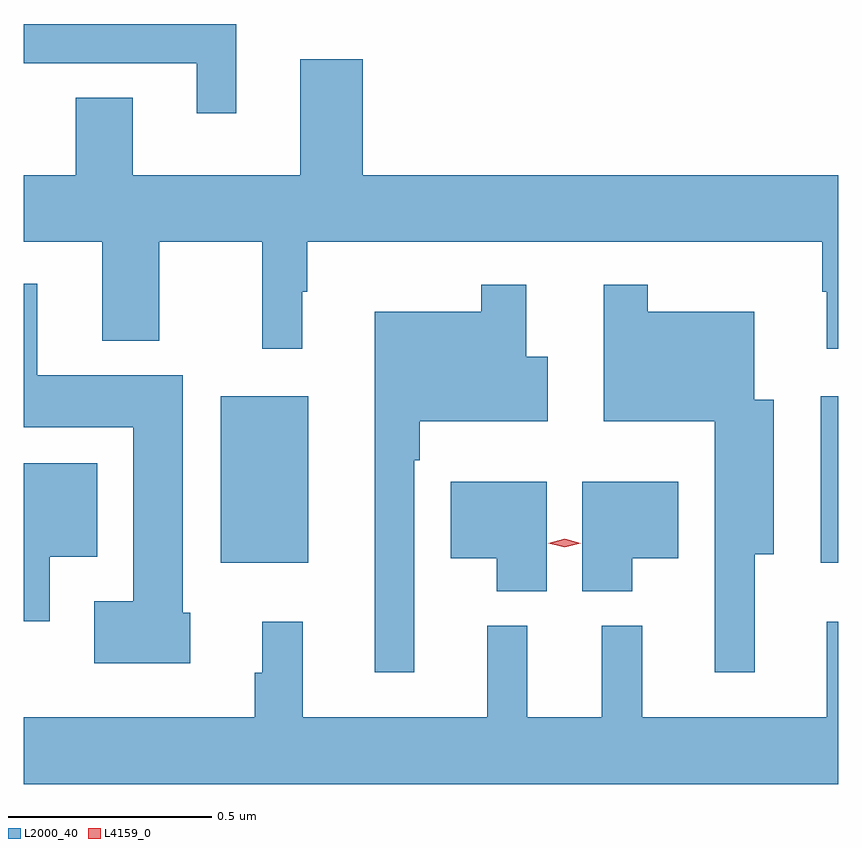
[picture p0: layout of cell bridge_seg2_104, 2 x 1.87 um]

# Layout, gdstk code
import gdstk
lib = gdstk.Library(unit=1e-6, precision=1e-09)
def R(c, l, rs):  # rectangles x0, y0, x1, y1
    for r in rs: c.add(gdstk.rectangle(r[:2], r[2:], *l))
def P(c, l, *ps):  # polygons
    for p in ps: c.add(gdstk.Polygon(p, *l))
L2000_40 = (2000, 40)
L4159_0 = (4159, 0)

bridge_seg2_104 = lib.new_cell('bridge_seg2_104')
R(bridge_seg2_104, L2000_40, [(522.998,638.855,523.213,639.265), (524.471,638.855,524.514,639.265)])
P(bridge_seg2_104, L2000_40, [(523.036,640.179),(522.514,640.179),(522.514,640.083),(522.938,640.083),(522.938,639.96),(523.036,639.96)],
  [(523.198,639.521),(523.21,639.521),(523.21,639.644),(524.475,639.644),(524.475,639.521),(524.486,639.521),(524.486,639.381),(524.514,639.381),(524.514,639.808),(523.346,639.808),(523.346,640.093),(523.193,640.093),(523.193,639.808),(522.781,639.808),(522.781,639.998),(522.641,639.998),(522.641,639.808),(522.514,639.808),(522.514,639.644),(522.707,639.644),(522.707,639.401),(522.847,639.401),(522.847,639.644),(523.099,639.644),(523.099,639.381),(523.198,639.381)],
  [(522.922,638.733),(522.904,638.733),(522.904,639.316),(522.547,639.316),(522.547,639.541),(522.514,639.541),(522.514,639.188),(522.782,639.188),(522.782,638.761),(522.687,638.761),(522.687,638.609),(522.922,638.609)],
  [(523.473,639.107),(523.486,639.107),(523.486,639.203),(523.801,639.203),(523.801,639.361),(523.748,639.361),(523.748,639.538),(523.638,639.538),(523.638,639.472),(523.376,639.472),(523.376,638.586),(523.473,638.586)],
  [(524.309,638.876),(524.356,638.876),(524.356,639.256),(524.308,639.256),(524.308,639.472),(524.047,639.472),(524.047,639.538),(523.938,639.538),(523.938,639.203),(524.211,639.203),(524.211,638.586),(524.309,638.586)],
  [(522.577,638.87),(522.694,638.87),(522.694,639.1),(522.514,639.1),(522.514,638.712),(522.577,638.712)],
  [(524.008,638.867),(524.122,638.867),(524.122,639.055),(523.886,639.055),(523.886,638.786),(524.008,638.786)],
  [(523.798,639.055),(523.562,639.055),(523.562,638.867),(523.676,638.867),(523.676,638.786),(523.798,638.786)],
  [(524.514,638.71),(524.486,638.71),(524.486,638.476),(524.033,638.476),(524.033,638.701),(523.934,638.701),(523.934,638.476),(523.751,638.476),(523.751,638.701),(523.652,638.701),(523.652,638.476),(523.199,638.476),(523.199,638.71),(523.1,638.71),(523.1,638.585),(523.081,638.585),(523.081,638.476),(522.514,638.476),(522.514,638.312),(524.514,638.312)])
P(bridge_seg2_104, L4159_0, [(523.842,638.894),(523.802,638.904),(523.802,638.904),(523.802,638.904),(523.842,638.914),(523.882,638.904),(523.882,638.904),(523.882,638.904)])

lib.write_gds('bridge_seg2_104.gds')
